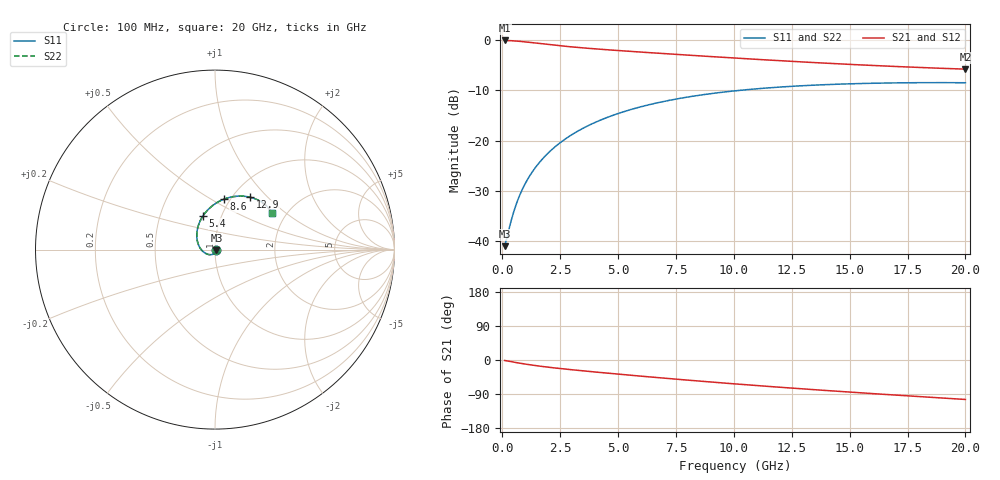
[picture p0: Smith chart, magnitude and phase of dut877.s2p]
! Touchstone file exported from HFSS 2024.1.0
!  File:  C:/UserFiles/LocalFiles/RDL_TSV_Batchsim/temp_RDL_TSV_877_1779929103.aedt
!  Generated:  08:58:35 AM May 28, 2026
!  Design:  RDL_TSV
!  Project:  temp_RDL_TSV_877_1779929103
!  Setup:  Setup1
!  Solution:  Sweep
! Variables:
!  dtsv = 12.4um
!  hbump = 3um
!  htsv = 71.97um
!  ldown = 230.17um
!  lrdl = 107.41um
!  p = 40
!  p1 = 58.94um
!  rhole = 10um
!  subl = 1120.15um
!  t = 450um
!  tdown = 2.03um
!  trdl = 4.96um
!  viad = 10um
!  wdown = 24.41um
!  wrdl = 11.49um
!  xbump = 18um
# GHz S MA R 50.000000
! Terminal data exported
! Port[1] = TM1_1_T1
! Port[2] = TM1_4_T1
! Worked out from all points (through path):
!   200 points, 100 MHz to 20 GHz, reference 50 ohm
!   highest |S21| = -0.08 dB at 100 MHz (marker M1); lowest = -5.8 dB at 20 GHz (marker M2)
!   group delay of S21, straight-line fit = 13.5 ps
!   lowest |S11| = -41.0 dB at 100 MHz (marker M3), VSWR 1.02, Z = 50.8 - j0.434 ohm
!   |S11| at or under -10 dB: start of sweep to 10.23 GHz
!   |S22| runs from -41.0 to -8.5 dB; largest |S21 - S12| = 9.3e-15
!   S11 on the Smith chart (normalised r, x): 100 MHz: 1.02, -0.01; 5.4 GHz: 0.82, +0.32; 8.6 GHz: 0.94, +0.57; 12.9 GHz: 1.20, +0.80; 20 GHz: 1.68, +0.81
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0.1  0.008961 -28.5  0.9913 -1.2  0.9913 -1.2  0.008961 -28.5
! Gamma 0 0 0 0
! Port Impedance 50 0 50 0
0.2  0.01088 -51.3  0.99 -2.3  0.99 -2.3  0.01088 -51.3
0.4  0.01658 -81.7  0.9852 -4.6  0.9852 -4.6  0.01658 -81.7
0.5  0.01987 -92.6  0.9819 -5.7  0.9819 -5.7  0.01987 -92.6
0.6  0.02332 -102.0  0.9781 -6.8  0.9781 -6.8  0.02332 -102.0
0.7  0.02686 -110.4  0.9738 -7.8  0.9738 -7.8  0.02686 -110.3
0.9  0.03414 -124.9  0.9642 -9.9  0.9642 -9.9  0.03414 -124.9
1.1  0.0416 -137.4  0.9535 -11.8  0.9535 -11.8  0.04159 -137.4
1.3  0.04917 -148.5  0.9422 -13.6  0.9422 -13.6  0.04917 -148.5
1.7  0.06456 -167.4  0.9192 -16.9  0.9192 -16.9  0.06455 -167.4
2.2  0.08396 173.6  0.8923 -20.5  0.8923 -20.5  0.08394 173.6
2.8  0.1071 155.7  0.8639 -24.5  0.8639 -24.5  0.1071 155.7
3.5  0.1335 139.5  0.8358 -28.7  0.8358 -28.7  0.1334 139.5
4.4  0.1659 123.4  0.8053 -33.9  0.8053 -33.9  0.1658 123.4
5.4  0.1993 109.6  0.7758 -39.4  0.7758 -39.4  0.1992 109.6
6.8  0.2409 94.7  0.7385 -46.9  0.7385 -46.9  0.2408 94.7
8.6  0.285 80.0  0.6949 -56.1  0.6949 -56.1  0.2849 80.0
10.1  0.314 70.3  0.6617 -63.3  0.6617 -63.3  0.3138 70.3
12.9  0.3514 56.1  0.6074 -75.9  0.6074 -75.9  0.3512 56.0
13.4  0.3561 53.9  0.5988 -78.0  0.5988 -78.0  0.3559 53.9
16.7  0.3748 42.0  0.5501 -91.5  0.5501 -91.5  0.3746 42.0
20  0.3767 33.2  0.5142 -104.1  0.5142 -104.1  0.3765 33.2
